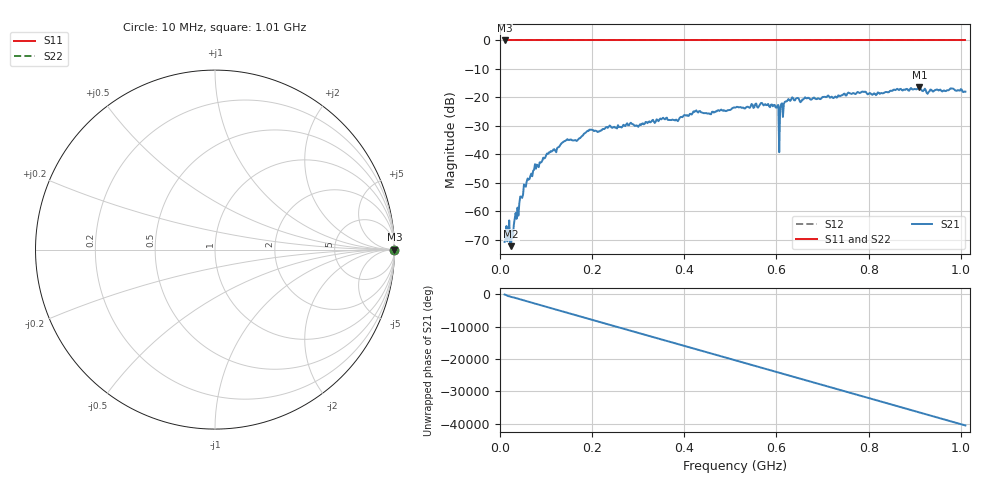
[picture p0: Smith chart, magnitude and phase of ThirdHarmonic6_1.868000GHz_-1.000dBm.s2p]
! 8/16/2025 10:35:06 PM
! C:\ANRITSUVNA\TEMP\TEMP.S2P
! CHANNEL.1
! TR.MEASUREMENT
! RAW.DATA
! RF.CORRECTION.OFF
! AVERAGING.OFF
! IF.BANDWIDTH: 5KHZ
! SWEEPTYPE:  FREQ.SWEEP(Linear)
! Reference Plane Port Info
! PORT:  PORT1  PORT2
! DISTANCE:  0  m  0  m
! TIME:  0  s  0  s
! PHASE.OFFSET:  0  deg.  0  deg.
! LOSS:  0  dB  0  dB
! REF.LOSS:  0  dB  0  dB
! REF.FREQ:  0  Hz  0  Hz
! Power Info
! POWER:  -20  dBm  -20  dBm
! EFF.POWER:  -20  dBm  -20  dBm
! SOURCE.ATTEN:  0  dB  0  dB
! TEST.ATTEN:  0  dB  0  dB
# GHZ S RI R 50.0
! FREQ.GHZ  S11RE  S11IM  S21RE  S21IM  S12RE  S12IM  S22RE  S22IM
!; PortSelection: Port_12
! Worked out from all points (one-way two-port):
!   501 points, 10 MHz to 1.01 GHz, reference 50 ohm
!   highest |S21| = -16.42 dB at 910 MHz (marker M1); lowest = -72.3 dB at 24 MHz (marker M2)
!   lowest |S11| = 0.0 dB at 10 MHz (marker M3)
!   |S11| at or under -10 dB: nowhere
!   |S22| runs from 0.0 to 0.0 dB; largest |S21 - S12| = 1.1
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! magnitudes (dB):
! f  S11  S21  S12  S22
! 10 MHz  0.0  -70.8  0.0  0.0
! 16 MHz  0.0  -70.6  0.0  0.0
! 24 MHz  0.0  -72.3  0.0  0.0
! 26 MHz  0.0  -66.6  0.0  0.0
! 34 MHz  0.0  -60.6  0.0  0.0
! 56 MHz  0.0  -51.4  0.0  0.0
! 76 MHz  0.0  -43.4  0.0  0.0
! 142 MHz  0.0  -35.3  0.0  0.0
! 178 MHz  0.0  -33.6  0.0  0.0
! 194 MHz  0.0  -31.3  0.0  0.0
! 344 MHz  0.0  -28.4  0.0  0.0
! 510 MHz  0.0  -23.6  0.0  0.0
! 592 MHz  0.0  -23.1  0.0  0.0
! 600 MHz  0.0  -23.7  0.0  0.0
! 602 MHz  0.0  -22.9  0.0  0.0
! 610 MHz  0.0  -22.4  0.0  0.0
! 612 MHz  0.0  -22.1  0.0  0.0
! 622 MHz  0.0  -21.4  0.0  0.0
! 678 MHz  0.0  -20.5  0.0  0.0
! 844 MHz  0.0  -18.1  0.0  0.0
! 910 MHz  0.0  -16.4  0.0  0.0
! 1.01 GHz  0.0  -18.0  0.0  0.0
